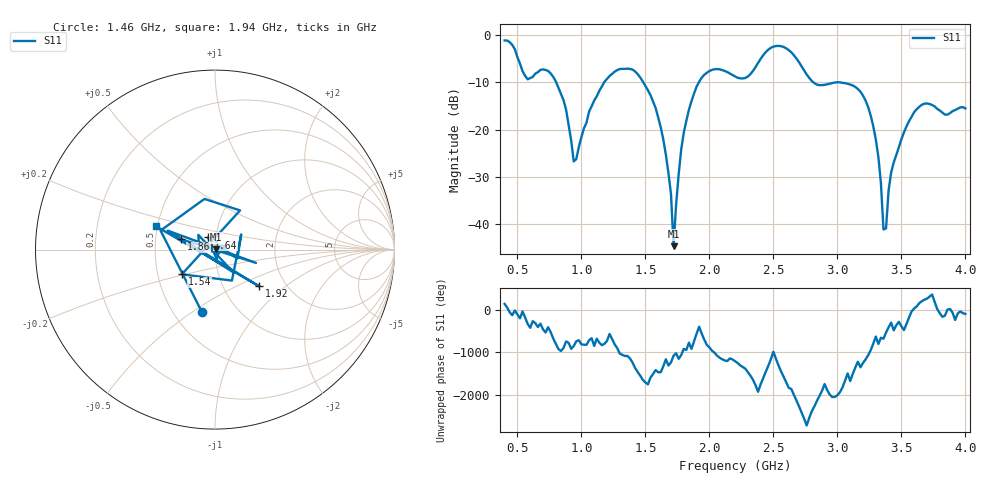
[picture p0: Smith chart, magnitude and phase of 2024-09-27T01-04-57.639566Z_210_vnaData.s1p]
!Created with skrf (http://scikit-rf.org).
# Hz S RI R 50.0
!freq ReS11 ImS11
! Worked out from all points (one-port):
!   181 points, 400 MHz to 4 GHz, reference 50 ohm
!   lowest |S11| = -44.6 dB at 1.72 GHz (marker M1), VSWR 1.01, Z = 50.6 + j0.0605 ohm
!   |S11| at or under -10 dB: 802.4 MHz to 1.178 GHz (376 MHz wide, 38 % of centre); 1.483 GHz to 1.918 GHz (435.4 MHz wide, 25.6 % of centre); 2.811 GHz to end of sweep
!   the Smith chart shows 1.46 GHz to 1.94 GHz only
!   S11 on the Smith chart (normalised r, x): 1.46 GHz: 0.69, -0.54; 1.54 GHz: 0.67, -0.19; 1.64 GHz: 0.92, +0.13; 1.86 GHz: 0.68, +0.08; 1.92 GHz: 1.47, -0.67; 1.94 GHz: 0.49, +0.15
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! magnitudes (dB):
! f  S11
! 400 MHz  -1.2
! 580 MHz  -9.4
! 740 MHz  -7.6
! 860 MHz  -13.8
! 940 MHz  -26.7
! 1.1 GHz  -13.9
! 1.3 GHz  -7.2
! 1.46 GHz  -9.0
! 1.54 GHz  -12.8
! 1.64 GHz  -22.1
! 1.7 GHz  -33.6
! 1.72 GHz  -44.6
! 1.76 GHz  -29.4
! 1.86 GHz  -14.0
! 1.92 GHz  -9.9
! 1.94 GHz  -9.1
! 2.2 GHz  -8.8
! 2.5 GHz  -2.5
! 2.66 GHz  -4.3
! 2.84 GHz  -10.5
! 3.1 GHz  -10.5
! 3.28 GHz  -19.3
! 3.32 GHz  -25.8
! 3.36 GHz  -41.1
! 3.38 GHz  -40.9
! 3.42 GHz  -29.1
! 3.56 GHz  -18.2
! 4 GHz  -15.5
